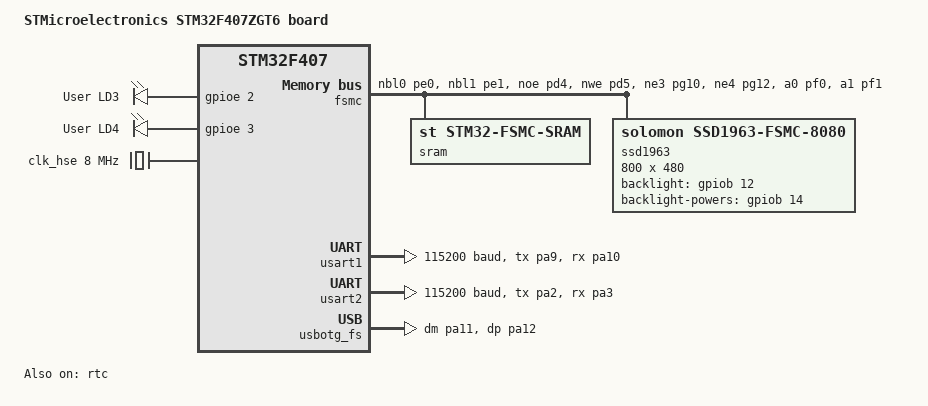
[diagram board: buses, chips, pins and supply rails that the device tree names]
/*
 * Copyright (c) 2017 Linaro Limited
 *
 * SPDX-License-Identifier: Apache-2.0
 */

/dts-v1/;
#include <st/f4/stm32f407Xg.dtsi>
#include <st/f4/stm32f407z(e-g)tx-pinctrl.dtsi>
#include <zephyr/dt-bindings/memory-controller/stm32-fsmc-sram.h>

/ {
	model = "STMicroelectronics STM32F407ZGT6 board";
	compatible = "st,stm32f407";

	chosen {
		zephyr,console = &usart2;
		zephyr,shell-uart = &usart2;
		zephyr,sram = &sram0;
		zephyr,flash = &flash0;
		zephyr,ccm = &ccm0;
		zephyr,canbus = &can2;
	};


	leds {
		compatible = "gpio-leds";
		orange_led_3: led_3 {
			gpios = <&gpioe 2 GPIO_ACTIVE_HIGH>;
			label = "User LD3";
		};
		green_led_4: led_4 {
			gpios = <&gpioe 3 GPIO_ACTIVE_HIGH>;
			label = "User LD4";
		};
	};

	aliases {
		led0 = &green_led_4;
		led1 = &orange_led_3;
	};

	soc {
		pinctrl: pin-controller@40020000 {
			/omit-if-no-ref/ fsmc_nbl0_pe0: fsmc_nbl0_pe0 {
				pinmux = <STM32_PINMUX('E', 0, AF12)>;
				slew-rate = "high-speed";
			};

			/omit-if-no-ref/ fsmc_nbl1_pe1: fsmc_nbl1_pe1 {
				pinmux = <STM32_PINMUX('E', 1, AF12)>;
				slew-rate = "high-speed";
			};

			/omit-if-no-ref/ fsmc_noe_pd4: fsmc_noe_pd4 {
				pinmux = <STM32_PINMUX('D', 4, AF12)>;
				slew-rate = "high-speed";
			};

			/omit-if-no-ref/ fsmc_nwe_pd5: fsmc_nwe_pd5 {
				pinmux = <STM32_PINMUX('D', 5, AF12)>;
				slew-rate = "high-speed";
			};	

			/omit-if-no-ref/ fsmc_ne1_pd7: fsmc_ne1_pd7 {
				pinmux = <STM32_PINMUX('D', 7, AF12)>;
				slew-rate = "high-speed";
			};

			/omit-if-no-ref/ fsmc_ne2_pg9: fsmc_ne2_pg9 {
				pinmux = <STM32_PINMUX('G', 9, AF12)>;
				slew-rate = "high-speed";
			};

			/omit-if-no-ref/ fsmc_ne3_pg10: fsmc_ne3_pg10 {
				pinmux = <STM32_PINMUX('G', 10, AF12)>;
				slew-rate = "high-speed";
			};

			/omit-if-no-ref/ fsmc_ne4_pg12: fsmc_ne4_pg12 {
				pinmux = <STM32_PINMUX('G', 12, AF12)>;
				slew-rate = "high-speed";
			};

			/omit-if-no-ref/ fsmc_a0_pf0: fsmc_a0_pf0 {
				pinmux = <STM32_PINMUX('F', 0, AF12)>;
				slew-rate = "high-speed";
			};

			/omit-if-no-ref/ fsmc_a1_pf1: fsmc_a1_pf1 {
				pinmux = <STM32_PINMUX('F', 1, AF12)>;
				slew-rate = "high-speed";
			};	

			/omit-if-no-ref/ fsmc_a2_pf2: fsmc_a2_pf2 {
				pinmux = <STM32_PINMUX('F', 2, AF12)>;
				slew-rate = "high-speed";
			};		

			/omit-if-no-ref/ fsmc_a3_pf3: fsmc_a3_pf3 {
				pinmux = <STM32_PINMUX('F', 3, AF12)>;
				slew-rate = "high-speed";
			};	

			/omit-if-no-ref/ fsmc_a4_pf4: fsmc_a4_pf4 {
				pinmux = <STM32_PINMUX('F', 4, AF12)>;
				slew-rate = "high-speed";
			};

			/omit-if-no-ref/ fsmc_a5_pf5: fsmc_a5_pf5 {
				pinmux = <STM32_PINMUX('F', 5, AF12)>;
				slew-rate = "high-speed";
			};

			/omit-if-no-ref/ fsmc_a6_pf12: fsmc_a6_pf12 {
				pinmux = <STM32_PINMUX('F', 12, AF12)>;
				slew-rate = "high-speed";
			};

			/omit-if-no-ref/ fsmc_a7_pf13: fsmc_a7_pf13 {
				pinmux = <STM32_PINMUX('F', 13, AF12)>;
				slew-rate = "high-speed";
			};

			/omit-if-no-ref/ fsmc_a8_pf14: fsmc_a8_pf14 {
				pinmux = <STM32_PINMUX('F', 14, AF12)>;
				slew-rate = "high-speed";
			};

			/omit-if-no-ref/ fsmc_a9_pf15: fsmc_a9_pf15 {
				pinmux = <STM32_PINMUX('F', 15, AF12)>;
				slew-rate = "high-speed";
			};

			/omit-if-no-ref/ fsmc_a10_pg0: fsmc_a10_pg0 {
				pinmux = <STM32_PINMUX('G', 0, AF12)>;
				slew-rate = "high-speed";
			};

			/omit-if-no-ref/ fsmc_a11_pg1: fsmc_a11_pg1 {
				pinmux = <STM32_PINMUX('G', 1, AF12)>;
				slew-rate = "high-speed";
			};

			/omit-if-no-ref/ fsmc_a12_pg2: fsmc_a12_pg2 {
				pinmux = <STM32_PINMUX('G', 2, AF12)>;
				slew-rate = "high-speed";
			};		

			/omit-if-no-ref/ fsmc_a13_pg3: fsmc_a13_pg3 {
				pinmux = <STM32_PINMUX('G', 3, AF12)>;
				slew-rate = "high-speed";
			};	

			/omit-if-no-ref/ fsmc_a14_pg4: fsmc_a14_pg4 {
				pinmux = <STM32_PINMUX('G', 4, AF12)>;
				slew-rate = "high-speed";
			};	

			/omit-if-no-ref/ fsmc_a15_pg5: fsmc_a15_pg5 {
				pinmux = <STM32_PINMUX('G', 5, AF12)>;
				slew-rate = "high-speed";
			};

			/omit-if-no-ref/ fsmc_a16_pd11: fsmc_a16_pd11 {
				pinmux = <STM32_PINMUX('D', 11, AF12)>;
				slew-rate = "high-speed";
			};

			/omit-if-no-ref/ fsmc_a17_pd12: fsmc_a17_pd12 {
				pinmux = <STM32_PINMUX('D', 12, AF12)>;
				slew-rate = "high-speed";
			};

			/omit-if-no-ref/ fsmc_a18_pd13: fsmc_a18_pd13 {
				pinmux = <STM32_PINMUX('D', 13, AF12)>;
				slew-rate = "high-speed";
			};

			/omit-if-no-ref/ fsmc_a19_pe3: fsmc_a19_pe3 {
				pinmux = <STM32_PINMUX('E', 3, AF12)>;
				slew-rate = "high-speed";
			};		

			/omit-if-no-ref/ fsmc_a20_pe4: fsmc_a20_pe4 {
				pinmux = <STM32_PINMUX('E', 4, AF12)>;
				slew-rate = "high-speed";
			};		

			/omit-if-no-ref/ fsmc_a21_pe5: fsmc_a21_pe5 {
				pinmux = <STM32_PINMUX('E', 5, AF12)>;
				slew-rate = "high-speed";
			};	

			/omit-if-no-ref/ fsmc_a22_pe6: fsmc_a22_pe6 {
				pinmux = <STM32_PINMUX('E', 6, AF12)>;
				slew-rate = "high-speed";
			};

			/omit-if-no-ref/ fsmc_a23_pe2: fsmc_a23_pe2 {
				pinmux = <STM32_PINMUX('E', 2, AF12)>;
				slew-rate = "high-speed";
			};		

			/omit-if-no-ref/ fsmc_a24_pg13: fsmc_a24_pg13 {
				pinmux = <STM32_PINMUX('G', 13, AF12)>;
				slew-rate = "high-speed";
			};	

			/omit-if-no-ref/ fsmc_d0_pd14: fsmc_d0_pd14 {
				pinmux = <STM32_PINMUX('D', 14, AF12)>;
				slew-rate = "high-speed";
			};	

			/omit-if-no-ref/ fsmc_d1_pd15: fsmc_d1_pd15 {
				pinmux = <STM32_PINMUX('D', 15, AF12)>;
				slew-rate = "high-speed";
			};

			/omit-if-no-ref/ fsmc_d2_pd0: fsmc_d2_pd0 {
				pinmux = <STM32_PINMUX('D', 0, AF12)>;
				slew-rate = "high-speed";
			};	

			/omit-if-no-ref/ fsmc_d3_pd1: fsmc_d3_pd1 {
				pinmux = <STM32_PINMUX('D', 1, AF12)>;
				slew-rate = "high-speed";
			};

			/omit-if-no-ref/ fsmc_d4_pe7: fsmc_d4_pe7 {
				pinmux = <STM32_PINMUX('E', 7, AF12)>;
				slew-rate = "high-speed";
			};

			/omit-if-no-ref/ fsmc_d5_pe8: fsmc_d5_pe8 {
				pinmux = <STM32_PINMUX('E', 8, AF12)>;
				slew-rate = "high-speed";
			};

			/omit-if-no-ref/ fsmc_d6_pe9: fsmc_d6_pe9 {
				pinmux = <STM32_PINMUX('E', 9, AF12)>;
				slew-rate = "high-speed";
			};

			/omit-if-no-ref/ fsmc_d7_pe10: fsmc_d7_pe10 {
				pinmux = <STM32_PINMUX('E', 10, AF12)>;
				slew-rate = "high-speed";
			};	

			/omit-if-no-ref/ fsmc_d8_pe11: fsmc_d8_pe11 {
				pinmux = <STM32_PINMUX('E', 11, AF12)>;
				slew-rate = "high-speed";
			};	

			/omit-if-no-ref/ fsmc_d9_pe12: fsmc_d9_pe12 {
				pinmux = <STM32_PINMUX('E', 12, AF12)>;
				slew-rate = "high-speed";
			};

			/omit-if-no-ref/ fsmc_d10_pe13: fsmc_d10_pe13 {
				pinmux = <STM32_PINMUX('E', 13, AF12)>;
				slew-rate = "high-speed";
			};

			/omit-if-no-ref/ fsmc_d11_pe14: fsmc_d11_pe14 {
				pinmux = <STM32_PINMUX('E', 14, AF12)>;
				slew-rate = "high-speed";
			};	

			/omit-if-no-ref/ fsmc_d12_pe15: fsmc_d12_pe15 {
				pinmux = <STM32_PINMUX('E', 15, AF12)>;
				slew-rate = "high-speed";
			};

			/omit-if-no-ref/ fsmc_d13_pd8: fsmc_d13_pd8 {
				pinmux = <STM32_PINMUX('D', 8, AF12)>;
				slew-rate = "high-speed";
			};

			/omit-if-no-ref/ fsmc_d14_pd9: fsmc_d14_pd9 {
				pinmux = <STM32_PINMUX('D', 9, AF12)>;
				slew-rate = "high-speed";
			};	

			/omit-if-no-ref/ fsmc_d15_pd10: fsmc_d15_pd10 {
				pinmux = <STM32_PINMUX('D', 10, AF12)>;
				slew-rate = "high-speed";
			};
		};
	};

	fsmc: memory-controller@60000000 {
		compatible = "st,stm32-fsmc";
		reg = <0x60000000 0x400>;
		clocks = <&rcc STM32_CLOCK_BUS_AHB3 0x00000001>;
		status = "disable";

		sram: sram {
			compatible = "st,stm32-fsmc-sram";
			#address-cells = <1>;
			#size-cells = <0>;
			status = "disabled";
		};
	};
};

&usart1 {
	pinctrl-0 = <&usart1_tx_pa9 &usart1_rx_pa10>;
	pinctrl-names = "default";
	current-speed = <115200>;
	status = "okay";
};

&clk_lsi {
	status = "okay";
};

&clk_hse {
	clock-frequency = <DT_FREQ_M(8)>;
	status = "okay";
};

&pll {
	div-m = <8>;
	mul-n = <336>;
	div-p = <2>;
	div-q = <7>;
	clocks = <&clk_hse>;
	status = "okay";
};

&rcc {
	clocks = <&pll>;
	clock-frequency = <DT_FREQ_M(168)>;
	ahb-prescaler = <1>;
	apb1-prescaler = <4>;
	apb2-prescaler = <2>;
};

&usart2 {
	pinctrl-0 = <&usart2_tx_pa2 &usart2_rx_pa3>;
	pinctrl-names = "default";
	current-speed = <115200>;
	status = "okay";
};

&rtc {
	clocks = <&rcc STM32_CLOCK_BUS_APB1 0x10000000>,
		 <&rcc STM32_SRC_LSI RTC_SEL(2)>;
	status = "okay";

	backup_regs {
		status = "okay";
	};
};

zephyr_udc0: &usbotg_fs {
	pinctrl-0 = <&usb_otg_fs_dm_pa11 &usb_otg_fs_dp_pa12>;
	pinctrl-names = "default";
	status = "okay";
};

&fsmc {
	pinctrl-0 = <&fsmc_nbl0_pe0 &fsmc_nbl1_pe1 
					&fsmc_noe_pd4 &fsmc_nwe_pd5 
					&fsmc_ne3_pg10 &fsmc_ne4_pg12
					&fsmc_a0_pf0 &fsmc_a1_pf1 &fsmc_a2_pf2 &fsmc_a3_pf3 
					&fsmc_a4_pf4 &fsmc_a5_pf5 &fsmc_a6_pf12 &fsmc_a7_pf13 
					&fsmc_a8_pf14 &fsmc_a9_pf15 &fsmc_a10_pg0 &fsmc_a11_pg1 
					&fsmc_a12_pg2 &fsmc_a13_pg3 &fsmc_a14_pg4 &fsmc_a15_pg5
					&fsmc_a16_pd11 &fsmc_a17_pd12 &fsmc_a18_pd13
					&fsmc_d0_pd14 &fsmc_d1_pd15 &fsmc_d2_pd0 &fsmc_d3_pd1
					&fsmc_d4_pe7 &fsmc_d5_pe8 &fsmc_d6_pe9 &fsmc_d7_pe10
					&fsmc_d8_pe11 &fsmc_d9_pe12 &fsmc_d10_pe13 &fsmc_d11_pe14
					&fsmc_d12_pe15 &fsmc_d13_pd8 &fsmc_d14_pd9 &fsmc_d15_pd10>;
	pinctrl-names = "default";
	status = "okay";
	sram {
		status = "okay";
		#address-cells = <1>;
		#size-cells = <0>;
		bank@3{
			reg = <3>;
			st,control = <	FSMC_DATA_ADDRESS_MUX_DISABLE 
							FSMC_MEMORY_TYPE_SRAM 
							FSMC_NORSRAM_MEM_BUS_WIDTH_16 
							FSMC_BURST_ACCESS_MODE_DISABLE 
							FSMC_WAIT_SIGNAL_POLARITY_LOW 
							FSMC_WRAP_MODE_DISABLE 
							FSMC_WAIT_TIMING_BEFORE_WS
							FSMC_WRITE_OPERATION_ENABLE
							FSMC_WAIT_SIGNAL_DISABLE
							FSMC_EXTENDED_MODE_ENABLE
							FSMC_ASYNCHRONOUS_WAIT_DISABLE
							FSMC_WRITE_BURST_DISABLE
							FSMC_PAGE_SIZE_NONE>;

			st,timing = <2 0 8 0 16 17 FSMC_ACCESS_MODE_A>;
			st,timing-ext = <2 0 8 0 16 17 FSMC_ACCESS_MODE_A>;
		};

		bank@4{
			reg = <4>;
			st,control = <	FSMC_DATA_ADDRESS_MUX_DISABLE 
							FSMC_MEMORY_TYPE_SRAM 
							FSMC_NORSRAM_MEM_BUS_WIDTH_16 
							FSMC_BURST_ACCESS_MODE_DISABLE 
							FSMC_WAIT_SIGNAL_POLARITY_LOW 
							FSMC_WRAP_MODE_DISABLE 
							FSMC_WAIT_TIMING_BEFORE_WS
							FSMC_WRITE_OPERATION_ENABLE
							FSMC_WAIT_SIGNAL_DISABLE
							FSMC_EXTENDED_MODE_ENABLE
							FSMC_ASYNCHRONOUS_WAIT_DISABLE
							FSMC_WRITE_BURST_DISABLE
							FSMC_PAGE_SIZE_NONE>;

			st,timing = <9 15 60 0 16 17 FSMC_ACCESS_MODE_A>;
			st,timing-ext = <15 0 15 0 16 17 FSMC_ACCESS_MODE_A>;
		};
	};

	ssd1963: ssd1963 {
		compatible = "solomon,ssd1963-fsmc-8080";
		/* freq */
		pll				= [1D 02 04];
		lcd-freq		= <346030>;

		/* bclk */
		backlight-gpios = <&gpiob 12 GPIO_ACTIVE_HIGH>;
		backlight-powers-gpios = <&gpiob 14 GPIO_ACTIVE_HIGH>;

		/* LCD */
		width 			= <800>;
		height 			= <480>;
		hsync-len 		= <1>;
		vsync-len		= <1>;
		hback-porch		= <46>;
		vback-porch		= <23>;
		hfront-porch	= <210>;
		vfront-porch	= <22>;

		pixel-format 	= <0>;			//RGB565
		rotation 		= <0>;			//0 90 180 270
		cmd-addr		= <0x6C00007E>;
		data-addr		= <0x6C000080>;


		status = "okay";
	};
};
